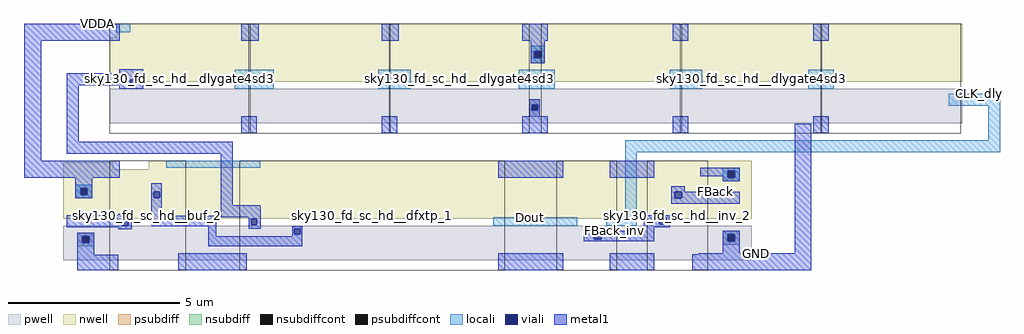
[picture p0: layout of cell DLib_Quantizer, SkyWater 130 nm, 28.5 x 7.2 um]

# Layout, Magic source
magic
tech sky130A
magscale 1 2
<< nwell >>
rect 730 650 5670 730
rect 690 390 5670 650
rect 420 -120 710 -80
rect 920 -120 4440 -70
rect 420 -410 4440 -120
<< pwell >>
rect 690 150 5670 350
rect 420 -650 4440 -450
<< psubdiff >>
rect 3140 258 3202 288
rect 3140 224 3156 258
rect 3190 224 3202 258
rect 3140 188 3202 224
rect 500 -510 600 -490
rect 500 -550 530 -510
rect 570 -550 600 -510
rect 500 -570 600 -550
rect 4270 -500 4370 -480
rect 4270 -540 4300 -500
rect 4340 -540 4370 -500
rect 4270 -560 4370 -540
<< nsubdiff >>
rect 3150 570 3230 600
rect 3150 530 3170 570
rect 3210 530 3230 570
rect 3150 500 3230 530
rect 4270 -130 4370 -110
rect 4270 -170 4300 -130
rect 4340 -170 4370 -130
rect 4270 -190 4370 -170
rect 490 -230 590 -210
rect 490 -270 520 -230
rect 560 -270 590 -230
rect 490 -290 590 -270
<< psubdiffcont >>
rect 3156 224 3190 258
rect 530 -550 570 -510
rect 4300 -540 4340 -500
<< nsubdiffcont >>
rect 3170 530 3210 570
rect 4300 -170 4340 -130
rect 520 -270 560 -230
<< locali >>
rect 730 680 810 730
rect 3150 570 3230 600
rect 3150 530 3170 570
rect 3210 530 3230 570
rect 3150 500 3230 530
rect 1420 350 1650 460
rect 2260 350 2450 460
rect 3080 350 3290 460
rect 3960 350 4150 460
rect 4770 350 4920 460
rect 3140 258 3202 288
rect 3140 224 3156 258
rect 3190 224 3202 258
rect 5590 250 5890 320
rect 3140 188 3202 224
rect 5820 50 5890 250
rect 3700 -20 5890 50
rect 1020 -110 1570 -70
rect 490 -230 590 -210
rect 490 -270 520 -230
rect 560 -270 590 -230
rect 490 -290 590 -270
rect 3700 -400 3770 -20
rect 4270 -130 4370 -110
rect 4270 -170 4300 -130
rect 4340 -170 4370 -130
rect 4270 -190 4370 -170
rect 2930 -450 3420 -400
rect 3590 -450 3770 -400
rect 500 -510 600 -490
rect 500 -550 530 -510
rect 570 -550 600 -510
rect 4270 -500 4370 -480
rect 500 -570 600 -550
rect 4270 -540 4300 -500
rect 4340 -540 4370 -500
rect 4270 -560 4370 -540
<< viali >>
rect 3170 530 3210 570
rect 810 368 844 402
rect 3156 224 3190 258
rect 520 -270 560 -230
rect 948 -286 982 -252
rect 4300 -170 4340 -130
rect 3990 -290 4030 -250
rect 760 -450 800 -410
rect 1516 -444 1550 -410
rect 3900 -440 3940 -400
rect 1768 -500 1802 -466
rect 530 -550 570 -510
rect 3520 -530 3560 -490
rect 4300 -540 4340 -500
<< metal1 >>
rect 190 630 750 730
rect 1460 630 1560 730
rect 2280 630 2380 730
rect 3100 630 3250 730
rect 3980 630 4070 730
rect 4800 630 4890 730
rect 190 -70 290 630
rect 3150 570 3230 630
rect 3150 530 3170 570
rect 3210 530 3230 570
rect 3150 500 3230 530
rect 746 440 886 464
rect 440 402 886 440
rect 440 370 810 402
rect 440 40 510 370
rect 746 368 810 370
rect 844 368 886 402
rect 746 350 886 368
rect 3140 258 3202 288
rect 3140 224 3156 258
rect 3190 224 3202 258
rect 3140 190 3202 224
rect 1460 90 1550 190
rect 2280 90 2370 190
rect 3100 90 3250 190
rect 3980 90 4070 190
rect 440 -30 1410 40
rect 190 -170 750 -70
rect 490 -230 590 -170
rect 490 -270 520 -230
rect 560 -270 590 -230
rect 490 -290 590 -270
rect 934 -252 994 -202
rect 934 -286 948 -252
rect 982 -286 994 -252
rect 934 -372 994 -286
rect 740 -390 820 -380
rect 440 -410 820 -390
rect 440 -450 760 -410
rect 800 -450 820 -410
rect 440 -460 820 -450
rect 936 -392 994 -372
rect 1340 -330 1410 -30
rect 2960 -170 3340 -70
rect 3610 -170 3870 -70
rect 4140 -130 4370 -110
rect 4140 -160 4300 -130
rect 4270 -170 4300 -160
rect 4340 -170 4370 -130
rect 4270 -190 4370 -170
rect 3970 -250 4050 -220
rect 3970 -290 3990 -250
rect 4030 -290 4370 -250
rect 3970 -320 4370 -290
rect 1340 -338 1570 -330
rect 936 -452 1312 -392
rect 1340 -400 1572 -338
rect 740 -470 820 -460
rect 500 -510 600 -490
rect 500 -550 530 -510
rect 570 -550 600 -510
rect 500 -620 600 -550
rect 1266 -510 1312 -452
rect 1502 -410 1572 -400
rect 1502 -444 1516 -410
rect 1550 -444 1572 -410
rect 1502 -468 1572 -444
rect 3810 -400 3960 -390
rect 3810 -440 3900 -400
rect 3940 -440 3960 -400
rect 1758 -466 1814 -452
rect 1758 -500 1768 -466
rect 1802 -500 1814 -466
rect 3810 -460 3960 -440
rect 3810 -480 3870 -460
rect 1758 -510 1814 -500
rect 1266 -570 1814 -510
rect 3460 -490 3870 -480
rect 3460 -530 3520 -490
rect 3560 -530 3870 -490
rect 3460 -540 3870 -530
rect 4270 -500 4370 -480
rect 4270 -540 4300 -500
rect 4340 -540 4370 -500
rect 4270 -610 4370 -540
rect 4692 -610 4787 147
rect 4800 90 4890 190
rect 500 -710 740 -620
rect 1090 -710 1490 -610
rect 2960 -710 3340 -610
rect 3610 -710 3870 -610
rect 4130 -615 4787 -610
rect 4093 -710 4787 -615
use sky130_fd_sc_hd__buf_2  sky130_fd_sc_hd__buf_2_0 $PDKPATH/libs.ref/sky130_fd_sc_hd/mag
transform 1 0 728 0 1 -662
box -38 -48 406 592
use sky130_fd_sc_hd__dfxtp_1  sky130_fd_sc_hd__dfxtp_1_0 $PDKPATH/libs.ref/sky130_fd_sc_hd/mag
transform 1 0 1488 0 1 -662
box -38 -48 1510 592
use sky130_fd_sc_hd__dlygate4sd3_1  sky130_fd_sc_hd__dlygate4sd3_1_0 $PDKPATH/libs.ref/sky130_fd_sc_hd/mag
transform 1 0 728 0 1 138
box -38 -48 774 592
use sky130_fd_sc_hd__dlygate4sd3_1  sky130_fd_sc_hd__dlygate4sd3_1_1
transform 1 0 1548 0 1 138
box -38 -48 774 592
use sky130_fd_sc_hd__dlygate4sd3_1  sky130_fd_sc_hd__dlygate4sd3_1_2
transform 1 0 2368 0 1 138
box -38 -48 774 592
use sky130_fd_sc_hd__dlygate4sd3_1  sky130_fd_sc_hd__dlygate4sd3_1_3
transform 1 0 3248 0 1 138
box -38 -48 774 592
use sky130_fd_sc_hd__dlygate4sd3_1  sky130_fd_sc_hd__dlygate4sd3_1_4
transform 1 0 4068 0 1 138
box -38 -48 774 592
use sky130_fd_sc_hd__dlygate4sd3_1  sky130_fd_sc_hd__dlygate4sd3_1_5
transform 1 0 4888 0 1 138
box -38 -48 774 592
use sky130_fd_sc_hd__inv_2  sky130_fd_sc_hd__inv_2_0 $PDKPATH/libs.ref/sky130_fd_sc_hd/mag
transform 1 0 3868 0 1 -662
box -38 -48 314 592
use sky130_fd_sc_hd__nand2_1  sky130_fd_sc_hd__nand2_1_0 $PDKPATH/libs.ref/sky130_fd_sc_hd/mag
transform 1 0 3338 0 1 -662
box -38 -48 314 592
<< labels >>
rlabel locali 5770 320 5770 320 1 CLK_dly
rlabel metal1 3640 -480 3640 -480 1 FBack_inv
rlabel locali 1530 460 1530 460 1 DL1
rlabel locali 2370 460 2370 460 1 DL2
rlabel locali 3250 460 3250 460 1 DL3
rlabel locali 4060 460 4060 460 1 DL4
rlabel locali 4870 460 4870 460 1 DL5
rlabel metal1 620 730 620 730 1 VDDA
port 5 n
rlabel metal1 490 440 490 440 1 CLK
port 2 n
rlabel metal1 540 -390 540 -390 1 D
port 1 n
rlabel metal1 4230 -250 4230 -250 1 FBack
port 4 n
rlabel metal1 4470 -610 4470 -610 1 GND
port 6 n
rlabel locali 3150 -400 3150 -400 1 Dout
port 3 n
<< end >>
